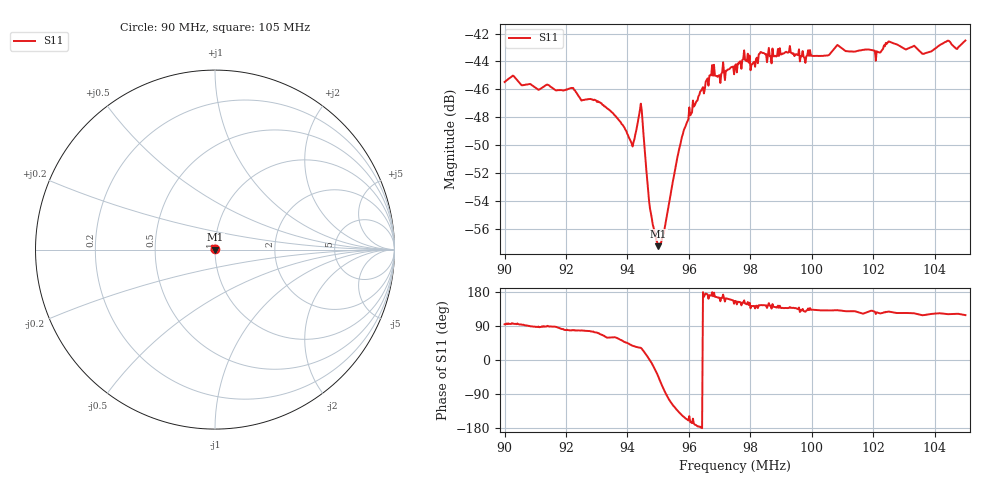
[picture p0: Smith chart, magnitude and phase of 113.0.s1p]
# HZ S RI R 50
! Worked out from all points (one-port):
!   505 points, 90 MHz to 105 MHz, reference 50 ohm
!   lowest |S11| = -57.2 dB at 95 MHz (marker M1), VSWR 1.00, Z = 50.1 - j0.095 ohm
!   |S11| at or under -10 dB: start of sweep to end of sweep
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9e7  -0.000393 0.00531
9.026786e7  -0.000575 0.00558
9.187501e7  0.000734 0.00492
9.309525e7  0.00164 0.0042
9.375001e7  0.00225 0.00313
9.416668e7  0.00248 0.00191
9.443454e7  0.00378 0.00236
9.449406e7  0.00339 0.00168
9.473216e7  0.00188 -5.15e-05
9.500002e7  0.000997 -0.000949
9.520835e7  0.000229 -0.00157
9.562502e7  -0.00197 -0.00208
9.607145e7  -0.00396 -0.00108
9.675597e7  -0.00612 0.000109
9.696431e7  -0.00541 0.00147
9.750002e7  -0.00557 0.00249
9.785717e7  -0.00538 0.00337
9.80655e7  -0.00489 0.00378
9.836312e7  -0.00557 0.0039
9.937503e7  -0.00494 0.00455
1.004762e8  -0.00432 0.00502
1.008631e8  -0.00473 0.00541
1.0125e8  -0.00429 0.00534
1.021429e8  -0.00392 0.0056
1.025298e8  -0.00451 0.0059
1.03125e8  -0.00392 0.00582
1.036608e8  -0.00322 0.00591
1.05e8  -0.00357 0.0066
